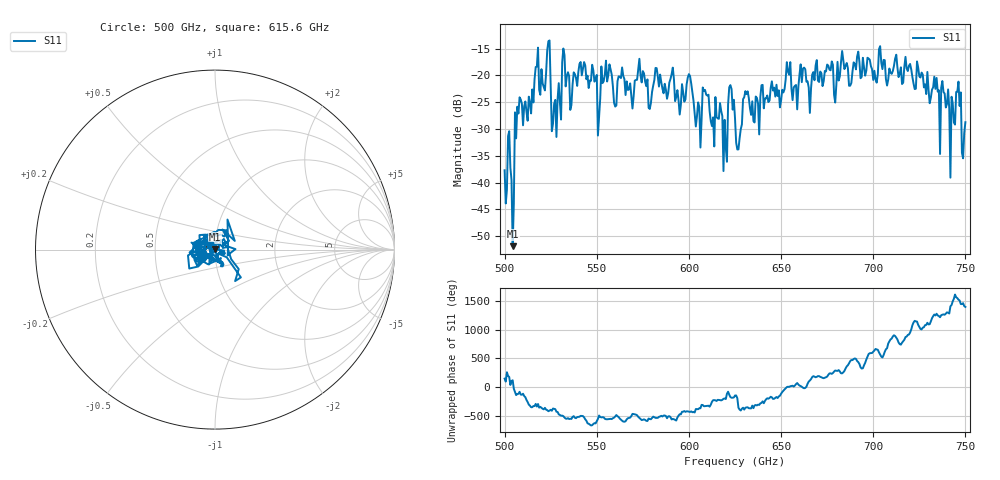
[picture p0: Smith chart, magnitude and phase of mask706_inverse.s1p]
!Created with skrf (http://scikit-rf.org).
# GHz S MA R 50.0
!freq magS11 angS11
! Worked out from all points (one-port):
!   401 points, 500 GHz to 750 GHz, reference 50 ohm
!   lowest |S11| = -51.9 dB at 504.4 GHz (marker M1), VSWR 1.01, Z = 49.9 + j0.22 ohm
!   |S11| at or under -10 dB: start of sweep to end of sweep
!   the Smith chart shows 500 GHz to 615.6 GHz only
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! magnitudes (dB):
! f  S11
! 500 GHz  -37.7
! 504.4 GHz  -51.9
! 508.1 GHz  -24.1
! 523.8 GHz  -13.6
! 526.9 GHz  -25.3
! 531.2 GHz  -17.5
! 548.8 GHz  -21.2
! 550.6 GHz  -31.2
! 553.8 GHz  -21.1
! 560 GHz  -25.8
! 562.5 GHz  -20.3
! 579.4 GHz  -25.2
! 590.6 GHz  -19.8
! 593.8 GHz  -22.8
! 600 GHz  -19.8
! 605 GHz  -25.0
! 608.8 GHz  -22.7
! 619.4 GHz  -28.3
! 623.1 GHz  -22.5
! 625 GHz  -28.0
! 626.9 GHz  -33.8
! 630.6 GHz  -22.9
! 656.2 GHz  -24.6
! 687.5 GHz  -21.9
! 718.8 GHz  -19.2
! 743.1 GHz  -25.2
! 746.2 GHz  -21.2
! 750 GHz  -28.7
